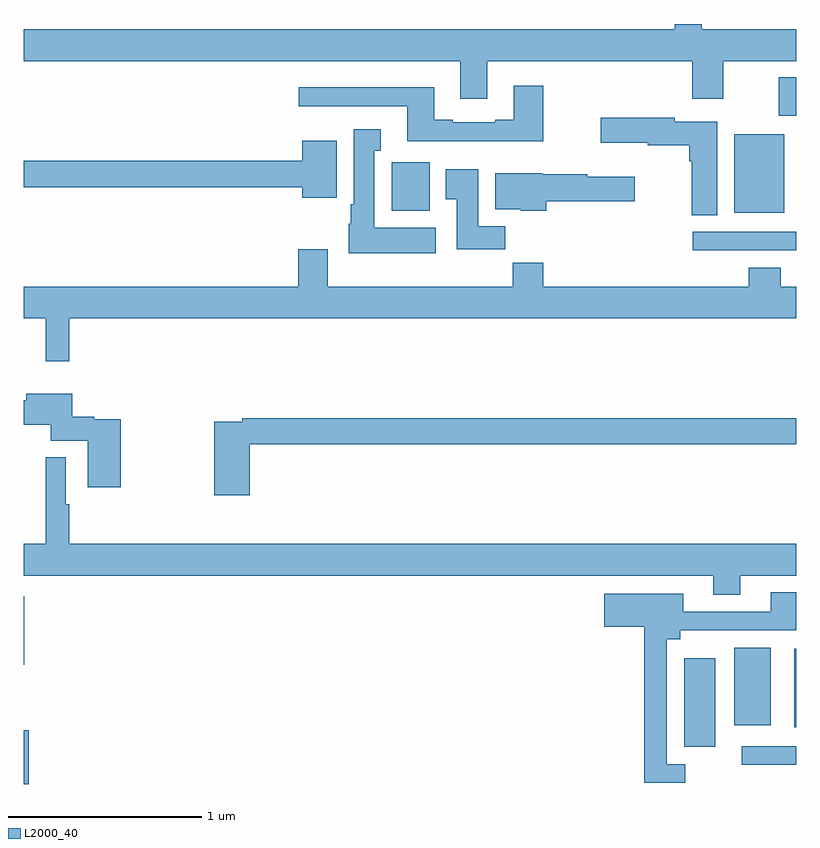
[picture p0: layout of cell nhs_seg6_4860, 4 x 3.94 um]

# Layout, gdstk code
import gdstk
lib = gdstk.Library(unit=1e-6, precision=1e-09)
def R(c, l, rs):  # rectangles x0, y0, x1, y1
    for r in rs: c.add(gdstk.rectangle(r[:2], r[2:], *l))
def P(c, l, *ps):  # polygons
    for p in ps: c.add(gdstk.Polygon(p, *l))
L2000_40 = (2000, 40)

nhs_seg6_4860 = lib.new_cell('nhs_seg6_4860')
R(nhs_seg6_4860, L2000_40, [(399,971.565,399.026,971.844), (402.717,971.664,403,971.76), (402.419,971.759,402.58,972.217), (402.989,971.858,403,972.265), (402.68,971.87,402.868,972.271), (399,972.182,399.002,972.538), (402.465,974.328,403,974.424), (402.68,974.522,402.937,974.929), (400.905,974.534,401.101,974.784), (402.91,975.024,403,975.223)])
P(nhs_seg6_4860, L2000_40, [(401.401,975.308),(402.461,975.308),(402.461,975.114),(402.621,975.114),(402.621,975.308),(403,975.308),(403,975.472),(402.511,975.472),(402.511,975.5),(402.371,975.5),(402.371,975.472),(399,975.472),(399,975.308),(401.261,975.308),(401.261,975.114),(401.401,975.114)],
  [(401.69,975.181),(401.537,975.181),(401.537,975.004),(401.441,975.004),(401.441,974.991),(401.221,974.991),(401.221,975.004),(401.125,975.004),(401.125,975.172),(400.425,975.172),(400.425,975.075),(400.985,975.075),(400.985,974.894),(401.69,974.894)],
  [(402.592,974.995),(402.372,974.995),(402.372,975.015),(401.988,975.015),(401.988,974.885),(402.231,974.885),(402.231,974.873),(402.446,974.873),(402.446,974.789),(402.458,974.789),(402.458,974.509),(402.592,974.509)],
  [(401.134,974.446),(400.816,974.446),(400.816,974.843),(400.849,974.843),(400.849,974.956),(400.709,974.956),(400.709,974.566),(400.694,974.566),(400.694,974.466),(400.682,974.466),(400.682,974.312),(401.134,974.312)],
  [(400.621,974.896),(400.442,974.896),(400.442,974.792),(399,974.792),(399,974.656),(400.442,974.656),(400.442,974.6),(400.621,974.6)],
  [(401.492,974.452),(401.353,974.452),(401.353,974.749),(401.186,974.749),(401.186,974.593),(401.243,974.593),(401.243,974.334),(401.492,974.334)],
  [(401.705,974.581),(402.163,974.581),(402.163,974.71),(401.919,974.71),(401.919,974.723),(401.688,974.723),(401.688,974.728),(401.441,974.728),(401.441,974.54),(401.574,974.54),(401.574,974.534),(401.705,974.534)],
  [(399.235,973.976),(403,973.976),(403,974.14),(402.92,974.14),(402.92,974.239),(402.755,974.239),(402.755,974.14),(401.69,974.14),(401.69,974.264),(401.533,974.264),(401.533,974.14),(400.573,974.14),(400.573,974.335),(400.421,974.335),(400.421,974.14),(399,974.14),(399,973.976),(399.113,973.976),(399.113,973.755),(399.235,973.755)],
  [(399.503,973.453),(399.366,973.453),(399.366,973.466),(399.25,973.466),(399.25,973.585),(399.014,973.585),(399.014,973.553),(399,973.553),(399,973.424),(399.14,973.424),(399.14,973.343),(399.332,973.343),(399.332,973.101),(399.503,973.101)],
  [(400.169,973.324),(403,973.324),(403,973.46),(400.132,973.46),(400.132,973.44),(399.986,973.44),(399.986,973.059),(400.169,973.059)],
  [(402.709,972.644),(403,972.644),(403,972.808),(399.235,972.808),(399.235,973.013),(399.217,973.013),(399.217,973.258),(399.113,973.258),(399.113,972.808),(399,972.808),(399,972.644),(402.569,972.644),(402.569,972.545),(402.709,972.545)],
  [(402.424,971.667),(402.33,971.667),(402.33,972.314),(402.4,972.314),(402.4,972.36),(403,972.36),(403,972.559),(402.869,972.559),(402.869,972.456),(402.415,972.456),(402.415,972.55),(402.006,972.55),(402.006,972.38),(402.214,972.38),(402.214,971.571),(402.424,971.571)])

lib.write_gds('nhs_seg6_4860.gds')
